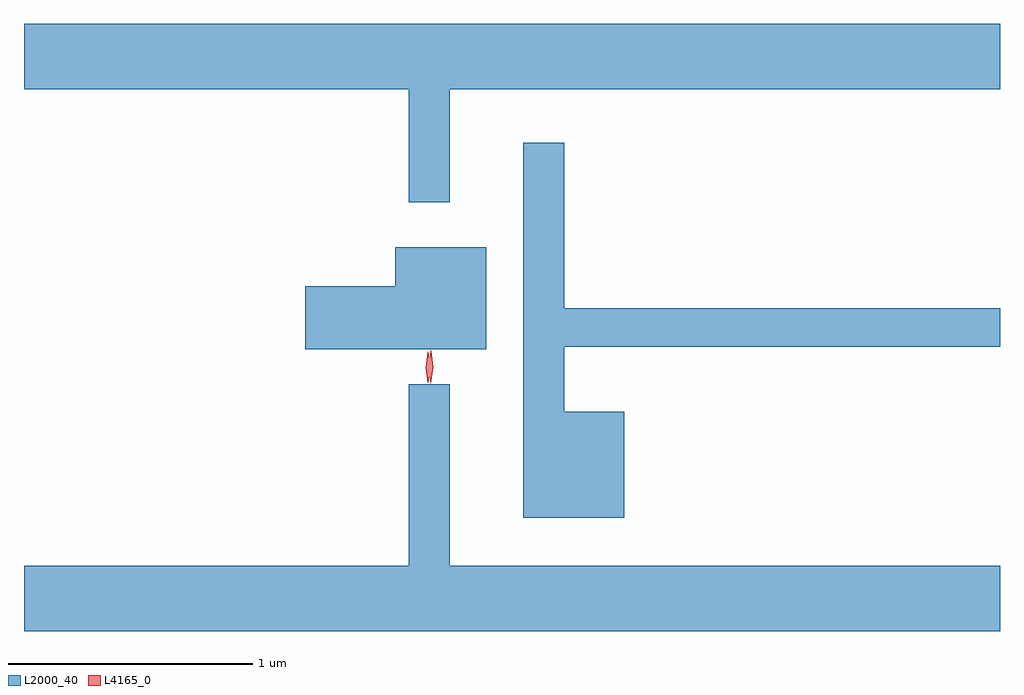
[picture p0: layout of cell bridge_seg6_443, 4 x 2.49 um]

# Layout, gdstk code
import gdstk
lib = gdstk.Library(unit=1e-6, precision=1e-09)
def P(c, l, *ps):  # polygons
    for p in ps: c.add(gdstk.Polygon(p, *l))
L2000_40 = (2000, 40)
L4165_0 = (4165, 0)

bridge_seg6_443 = lib.new_cell('bridge_seg6_443')
P(bridge_seg6_443, L2000_40, [(783.839,1645.496),(786.094,1645.496),(786.094,1645.764),(782.094,1645.764),(782.094,1645.496),(783.671,1645.496),(783.671,1645.033),(783.839,1645.033)],
  [(784.554,1644.174),(784.309,1644.174),(784.309,1644.441),(786.094,1644.441),(786.094,1644.599),(784.309,1644.599),(784.309,1645.278),(784.141,1645.278),(784.141,1643.741),(784.554,1643.741)],
  [(783.989,1644.849),(783.616,1644.849),(783.616,1644.689),(783.246,1644.689),(783.246,1644.431),(783.989,1644.431)],
  [(786.094,1643.544),(783.839,1643.544),(783.839,1644.288),(783.671,1644.288),(783.671,1643.544),(782.094,1643.544),(782.094,1643.276),(786.094,1643.276)])
P(bridge_seg6_443, L4165_0, [(783.749,1644.293),(783.74,1644.356),(783.749,1644.419),(783.749,1644.42),(783.75,1644.419),(783.76,1644.356),(783.75,1644.293),(783.75,1644.293)],
  [(783.76,1644.29),(783.752,1644.358),(783.762,1644.425),(783.762,1644.426),(783.763,1644.425),(783.772,1644.358),(783.762,1644.29),(783.761,1644.29)])

lib.write_gds('bridge_seg6_443.gds')
